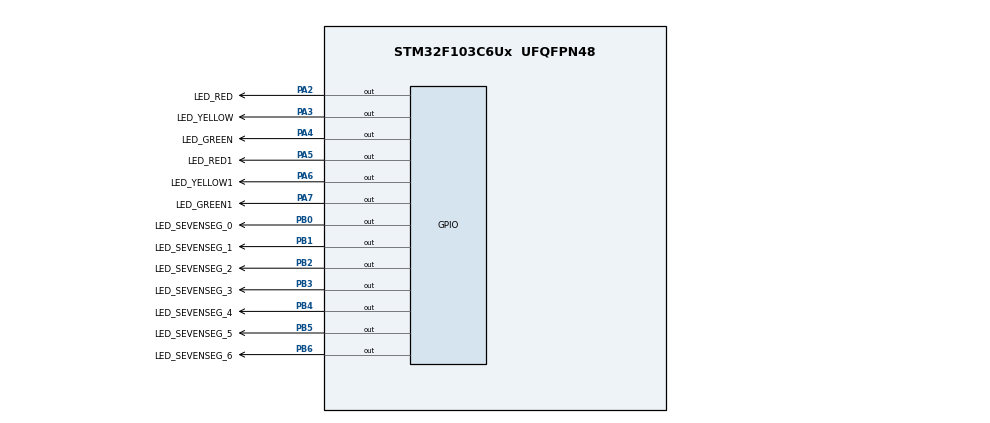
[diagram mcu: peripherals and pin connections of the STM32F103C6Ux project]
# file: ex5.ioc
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Mcu.Family=STM32F1
Mcu.Name=STM32F103C6Ux
Mcu.Package=UFQFPN48
NVIC.PriorityGroup=NVIC_PRIORITYGROUP_4
PA2.GPIO_Label=LED_RED
PA2.Signal=GPIO_Output
PA3.GPIO_Label=LED_YELLOW
PA3.Signal=GPIO_Output
PA4.GPIO_Label=LED_GREEN
PA4.Signal=GPIO_Output
PA5.GPIO_Label=LED_RED1
PA5.Signal=GPIO_Output
PA6.GPIO_Label=LED_YELLOW1
PA6.Signal=GPIO_Output
PA7.GPIO_Label=LED_GREEN1
PA7.Signal=GPIO_Output
PB0.GPIO_Label=LED_SEVENSEG_0
PB0.Signal=GPIO_Output
PB1.GPIO_Label=LED_SEVENSEG_1
PB1.Signal=GPIO_Output
PB2.GPIO_Label=LED_SEVENSEG_2
PB2.Signal=GPIO_Output
PB3.GPIO_Label=LED_SEVENSEG_3
PB3.Signal=GPIO_Output
PB4.GPIO_Label=LED_SEVENSEG_4
PB4.Signal=GPIO_Output
PB5.GPIO_Label=LED_SEVENSEG_5
PB5.Signal=GPIO_Output
PB6.GPIO_Label=LED_SEVENSEG_6
PB6.Signal=GPIO_Output
ProjectManager.HeapSize=0x200
ProjectManager.StackSize=0x400
ProjectManager.TargetToolchain=STM32CubeIDE
RCC.APB1Freq_Value=8000000
RCC.APB2Freq_Value=8000000
board=custom

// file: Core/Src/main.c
/* USER CODE BEGIN Header */
/**
  ******************************************************************************
  * @file           : main.c
  * @brief          : Main program body
  ******************************************************************************
  * @attention
  *
  * Copyright (c) 2022 STMicroelectronics.
  * All rights reserved.
  *
  * This software is licensed under terms that can be found in the LICENSE file
  * in the root directory of this software component.
  * If no LICENSE file comes with this software, it is provided AS-IS.
  *
  ******************************************************************************
  */
/* USER CODE END Header */
#include "main.h"

void SystemClock_Config(void);
static void MX_GPIO_Init(void);

/* USER CODE BEGIN 0 */
uint8_t seg[] = {0xC0,0xF9,0xA4,0xB0,0x99,0x92,0x82,0xF8,0x80,0x90};

void Led_seg_WriteByte(uint8_t b);

void Led_seg_WriteByte(uint8_t b){
	if(((b >> 0) & 0x01) == 1){
		HAL_GPIO_WritePin(LED_SEVENSEG_0_GPIO_Port, LED_SEVENSEG_0_Pin, SET);
	}else HAL_GPIO_WritePin(LED_SEVENSEG_0_GPIO_Port,LED_SEVENSEG_0_Pin, GPIO_PIN_RESET);
	if(((b >> 1) & 0x01) == 1){
		HAL_GPIO_WritePin(LED_SEVENSEG_1_GPIO_Port, LED_SEVENSEG_1_Pin, SET);
			}else HAL_GPIO_WritePin(LED_SEVENSEG_1_GPIO_Port,LED_SEVENSEG_1_Pin, GPIO_PIN_RESET);
	if(((b >> 2) & 0x01) == 1){
		HAL_GPIO_WritePin(LED_SEVENSEG_2_GPIO_Port, LED_SEVENSEG_2_Pin, SET);
			}else HAL_GPIO_WritePin(LED_SEVENSEG_2_GPIO_Port,LED_SEVENSEG_2_Pin, GPIO_PIN_RESET);
	if(((b >> 3) & 0x01) == 1){
		HAL_GPIO_WritePin(LED_SEVENSEG_3_GPIO_Port, LED_SEVENSEG_3_Pin, SET);
			}else HAL_GPIO_WritePin(LED_SEVENSEG_3_GPIO_Port,LED_SEVENSEG_3_Pin, GPIO_PIN_RESET);
	if(((b >> 4) & 0x01) == 1){
		HAL_GPIO_WritePin(LED_SEVENSEG_4_GPIO_Port, LED_SEVENSEG_4_Pin, SET);
			}else HAL_GPIO_WritePin(LED_SEVENSEG_4_GPIO_Port,LED_SEVENSEG_4_Pin, GPIO_PIN_RESET);
	if(((b >> 5) & 0x01) == 1){
		HAL_GPIO_WritePin(LED_SEVENSEG_5_GPIO_Port, LED_SEVENSEG_5_Pin, SET);
			}else HAL_GPIO_WritePin(LED_SEVENSEG_5_GPIO_Port,LED_SEVENSEG_5_Pin, GPIO_PIN_RESET);
	if(((b >> 6) & 0x01) == 1){
		HAL_GPIO_WritePin(LED_SEVENSEG_6_GPIO_Port, LED_SEVENSEG_6_Pin, SET);
			}else HAL_GPIO_WritePin(LED_SEVENSEG_6_GPIO_Port,LED_SEVENSEG_6_Pin, GPIO_PIN_RESET);
}

void display7Seg(int num){
	Led_seg_WriteByte(seg[num]);
}
/* USER CODE END 0 */

int main(void)
{

  /* MCU Configuration--------------------------------------------------------*/

  /* Reset of all peripherals, Initializes the Flash interface and the Systick. */
  HAL_Init();

  /* Configure the system clock */
  SystemClock_Config();

  /* Initialize all configured peripherals */
  MX_GPIO_Init();

  /* Infinite loop */
  while (1)
  {
  	  HAL_GPIO_WritePin(GPIOA, LED_RED_Pin, RESET);
  	  HAL_GPIO_WritePin(GPIOA, LED_YELLOW_Pin, SET);
  	  HAL_GPIO_WritePin(GPIOA, LED_GREEN_Pin, SET);

  	  HAL_GPIO_WritePin(GPIOA, LED_RED1_Pin, SET);
  	  HAL_GPIO_WritePin(GPIOA, LED_YELLOW1_Pin, SET);
  	  HAL_GPIO_WritePin(GPIOA, LED_GREEN1_Pin, RESET);
  	  display7Seg(5);
  	  HAL_Delay(1000);
  	  display7Seg(4);
  	  HAL_Delay(1000);
  	  display7Seg(3);
  	  HAL_Delay(1000);
  	  /*----------*/
	  HAL_GPIO_WritePin(GPIOA, LED_RED_Pin, RESET);
  	  HAL_GPIO_WritePin(GPIOA, LED_YELLOW_Pin, SET);
	  HAL_GPIO_WritePin(GPIOA, LED_GREEN_Pin, SET);

  	  HAL_GPIO_WritePin(GPIOA, LED_RED1_Pin, SET);
  	  HAL_GPIO_WritePin(GPIOA, LED_YELLOW1_Pin, RESET);
  	  HAL_GPIO_WritePin(GPIOA, LED_GREEN1_Pin, SET);
  	  display7Seg(2);
  	  HAL_Delay(1000);
  	  display7Seg(1);
  	  HAL_Delay(1000);
  	  /*----------*/
  	  HAL_GPIO_WritePin(GPIOA, LED_RED_Pin, SET);
  	  HAL_GPIO_WritePin(GPIOA, LED_YELLOW_Pin, SET);
  	  HAL_GPIO_WritePin(GPIOA, LED_GREEN_Pin, RESET);

  	  HAL_GPIO_WritePin(GPIOA, LED_RED1_Pin, RESET);
  	  HAL_GPIO_WritePin(GPIOA, LED_YELLOW1_Pin, SET);
  	  HAL_GPIO_WritePin(GPIOA, LED_GREEN1_Pin, SET);
  	  display7Seg(3);
  	  HAL_Delay(1000);
  	  display7Seg(2);
  	  HAL_Delay(1000);
  	  display7Seg(1);
  	  HAL_Delay(1000);
  	  /*----------*/
  	  HAL_GPIO_WritePin(GPIOA, LED_RED_Pin, SET);
  	  HAL_GPIO_WritePin(GPIOA, LED_YELLOW_Pin, RESET);
  	  HAL_GPIO_WritePin(GPIOA, LED_GREEN_Pin, SET);

  	  HAL_GPIO_WritePin(GPIOA, LED_RED1_Pin, RESET);
  	  HAL_GPIO_WritePin(GPIOA, LED_YELLOW1_Pin, SET);
  	  HAL_GPIO_WritePin(GPIOA, LED_GREEN1_Pin, SET);
  	  display7Seg(2);
  	  HAL_Delay(1000);
  	  display7Seg(1);
  	  HAL_Delay(1000);
  }
}

void SystemClock_Config(void)
{
  RCC_OscInitTypeDef RCC_OscInitStruct = {0};
  RCC_ClkInitTypeDef RCC_ClkInitStruct = {0};

  /** Initializes the RCC Oscillators according to the specified parameters
  * in the RCC_OscInitTypeDef structure.
  */
  RCC_OscInitStruct.OscillatorType = RCC_OSCILLATORTYPE_HSI;
  RCC_OscInitStruct.HSIState = RCC_HSI_ON;
  RCC_OscInitStruct.HSICalibrationValue = RCC_HSICALIBRATION_DEFAULT;
  RCC_OscInitStruct.PLL.PLLState = RCC_PLL_NONE;
  if (HAL_RCC_OscConfig(&RCC_OscInitStruct) != HAL_OK)
  {
    Error_Handler();
  }

  /** Initializes the CPU, AHB and APB buses clocks
  */
  RCC_ClkInitStruct.ClockType = RCC_CLOCKTYPE_HCLK|RCC_CLOCKTYPE_SYSCLK
                              |RCC_CLOCKTYPE_PCLK1|RCC_CLOCKTYPE_PCLK2;
  RCC_ClkInitStruct.SYSCLKSource = RCC_SYSCLKSOURCE_HSI;
  RCC_ClkInitStruct.AHBCLKDivider = RCC_SYSCLK_DIV1;
  RCC_ClkInitStruct.APB1CLKDivider = RCC_HCLK_DIV1;
  RCC_ClkInitStruct.APB2CLKDivider = RCC_HCLK_DIV1;

  if (HAL_RCC_ClockConfig(&RCC_ClkInitStruct, FLASH_LATENCY_0) != HAL_OK)
  {
    Error_Handler();
  }
}

static void MX_GPIO_Init(void)
{
  GPIO_InitTypeDef GPIO_InitStruct = {0};

  /* GPIO Ports Clock Enable */
  __HAL_RCC_GPIOA_CLK_ENABLE();
  __HAL_RCC_GPIOB_CLK_ENABLE();

  /*Configure GPIO pin Output Level */
  HAL_GPIO_WritePin(GPIOA, LED_RED_Pin|LED_YELLOW_Pin|LED_GREEN_Pin|LED_RED1_Pin
                          |LED_YELLOW1_Pin|LED_GREEN1_Pin, GPIO_PIN_RESET);

  /*Configure GPIO pin Output Level */
  HAL_GPIO_WritePin(GPIOB, LED_SEVENSEG_0_Pin|LED_SEVENSEG_1_Pin|LED_SEVENSEG_2_Pin|LED_SEVENSEG_3_Pin
                          |LED_SEVENSEG_4_Pin|LED_SEVENSEG_5_Pin|LED_SEVENSEG_6_Pin, GPIO_PIN_RESET);

  /*Configure GPIO pins : LED_RED_Pin LED_YELLOW_Pin LED_GREEN_Pin LED_RED1_Pin
                           LED_YELLOW1_Pin LED_GREEN1_Pin */
  GPIO_InitStruct.Pin = LED_RED_Pin|LED_YELLOW_Pin|LED_GREEN_Pin|LED_RED1_Pin
                          |LED_YELLOW1_Pin|LED_GREEN1_Pin;
  GPIO_InitStruct.Mode = GPIO_MODE_OUTPUT_PP;
  GPIO_InitStruct.Pull = GPIO_NOPULL;
  GPIO_InitStruct.Speed = GPIO_SPEED_FREQ_LOW;
  HAL_GPIO_Init(GPIOA, &GPIO_InitStruct);

  /*Configure GPIO pins : LED_SEVENSEG_0_Pin LED_SEVENSEG_1_Pin LED_SEVENSEG_2_Pin LED_SEVENSEG_3_Pin
                           LED_SEVENSEG_4_Pin LED_SEVENSEG_5_Pin LED_SEVENSEG_6_Pin */
  GPIO_InitStruct.Pin = LED_SEVENSEG_0_Pin|LED_SEVENSEG_1_Pin|LED_SEVENSEG_2_Pin|LED_SEVENSEG_3_Pin
                          |LED_SEVENSEG_4_Pin|LED_SEVENSEG_5_Pin|LED_SEVENSEG_6_Pin;
  GPIO_InitStruct.Mode = GPIO_MODE_OUTPUT_PP;
  GPIO_InitStruct.Pull = GPIO_NOPULL;
  GPIO_InitStruct.Speed = GPIO_SPEED_FREQ_LOW;
  HAL_GPIO_Init(GPIOB, &GPIO_InitStruct);

}

void Error_Handler(void)
{
  __disable_irq();
  while (1)
  {
  }
}
